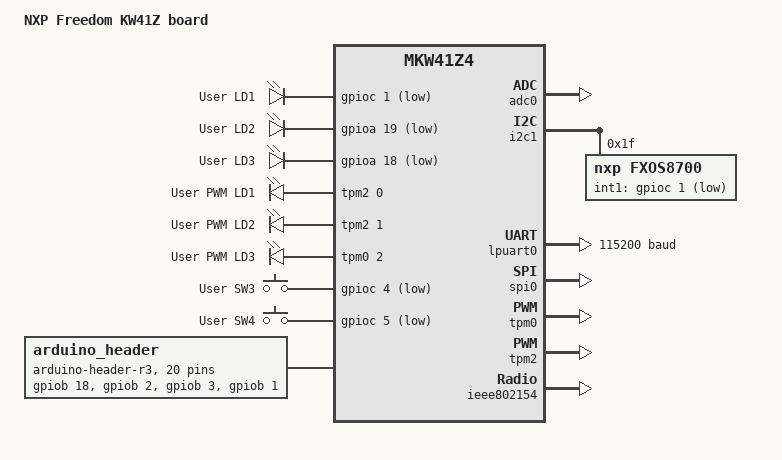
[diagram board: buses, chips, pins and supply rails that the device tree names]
/* SPDX-License-Identifier: Apache-2.0 */

/dts-v1/;

#include <nxp/nxp_kw41z.dtsi>
#include "frdm_kw41z-pinctrl.dtsi"
#include <zephyr/dt-bindings/gpio/arduino-header-r3.h>
#include <zephyr/dt-bindings/input/input-event-codes.h>

/ {
	model = "NXP Freedom KW41Z board";
	compatible = "nxp,kw41z", "nxp,mkw41z4";

	aliases {
		led0 = &green_led;
		led1 = &blue_led;
		led2 = &red_led;
		sw0 = &user_button_3;
		sw1 = &user_button_4;
		pwm-led0 = &blue_pwm_led;
		pwm-led1 = &green_pwm_led;
		pwm-led2 = &red_pwm_led;
		blue-pwm-led = &blue_pwm_led;
		green-pwm-led = &green_pwm_led;
		red-pwm-led = &red_pwm_led;
		magn0 = &fxos8700;
		accel0 = &fxos8700;
	};

	chosen {
		zephyr,sram = &sram0;
		zephyr,flash = &flash0;
		zephyr,console = &lpuart0;
		zephyr,shell-uart = &lpuart0;
		zephyr,ieee802154 = &ieee802154;
		zephyr,code-partition = &slot0_partition;
		zephyr,uart-mcumgr = &lpuart0;
	};

	leds {
		compatible = "gpio-leds";
		red_led: led_0 {
			gpios = <&gpioc 1 GPIO_ACTIVE_LOW>;
			label = "User LD1";
		};
		green_led: led_1 {
			gpios = <&gpioa 19 GPIO_ACTIVE_LOW>;
			label = "User LD2";
		};
		blue_led: led_2 {
			gpios = <&gpioa 18 GPIO_ACTIVE_LOW>;
			label = "User LD3";
		};
	};

	pwmleds {
		compatible = "pwm-leds";
		blue_pwm_led: pwm_led_0 {
			pwms = <&tpm2 0 PWM_MSEC(20) PWM_POLARITY_INVERTED>;
			label = "User PWM LD1";
		};
		green_pwm_led: pwm_led_1 {
			pwms = <&tpm2 1 PWM_MSEC(20) PWM_POLARITY_INVERTED>;
			label = "User PWM LD2";
		};
		red_pwm_led: pwm_led_2 {
			pwms = <&tpm0 2 PWM_MSEC(20) PWM_POLARITY_INVERTED>;
			label = "User PWM LD3";
		};
	};

	gpio_keys {
		compatible = "gpio-keys";
		user_button_3: button_0 {
			label = "User SW3";
			gpios = <&gpioc 4 GPIO_ACTIVE_LOW>;
			zephyr,code = <INPUT_KEY_0>;
		};
		user_button_4: button_1 {
			label = "User SW4";
			gpios = <&gpioc 5 GPIO_ACTIVE_LOW>;
			zephyr,code = <INPUT_KEY_1>;
		};
	};

	arduino_header: connector {
		compatible = "arduino-header-r3";
		#gpio-cells = <2>;
		gpio-map-mask = <0xffffffff 0xffffffc0>;
		gpio-map-pass-thru = <0 0x3f>;
		gpio-map = /* A0 cannot be muxed as gpio */
			   <ARDUINO_HEADER_R3_A1 0 &gpiob 18 0>,
			   <ARDUINO_HEADER_R3_A2 0 &gpiob 2 0>,
			   <ARDUINO_HEADER_R3_A3 0 &gpiob 3 0>,
			   <ARDUINO_HEADER_R3_A4 0 &gpiob 1 0>,
			   <ARDUINO_HEADER_R3_D0 0 &gpioc 6 0>,
			   <ARDUINO_HEADER_R3_D1 0 &gpioc 7 0>,
			   <ARDUINO_HEADER_R3_D2 0 &gpioc 19 0>,
			   <ARDUINO_HEADER_R3_D3 0 &gpioc 16 0>,
			   <ARDUINO_HEADER_R3_D4 0 &gpioc 4 0>,
			   <ARDUINO_HEADER_R3_D5 0 &gpioc 17 0>,
			   <ARDUINO_HEADER_R3_D6 0 &gpioc 18 0>,
			   <ARDUINO_HEADER_R3_D7 0 &gpioa 1 0>,
			   <ARDUINO_HEADER_R3_D8 0 &gpioa 0 0>,
			   <ARDUINO_HEADER_R3_D9 0 &gpioc 1 0>,
			   <ARDUINO_HEADER_R3_D10 0 &gpioa 19 0>,
			   <ARDUINO_HEADER_R3_D11 0 &gpioa 16 0>,
			   <ARDUINO_HEADER_R3_D12 0 &gpioa 17 0>,
			   <ARDUINO_HEADER_R3_D13 0 &gpioa 18 0>,
			   <ARDUINO_HEADER_R3_D14 0 &gpioc 3 0>,
			   <ARDUINO_HEADER_R3_D15 0 &gpioc 2 0>;
	};
};

&sim {
	pllfll-select = <KINETIS_SIM_PLLFLLSEL_MCGPLLCLK>;
	er32k-select = <KINETIS_SIM_ER32KSEL_OSC32KCLK>;
};

&adc0 {
	status = "okay";
	pinctrl-0 = <&adc0_default>;
	pinctrl-names = "default";
};

&i2c1 {
	status = "okay";
	pinctrl-0 = <&i2c1_default>;
	pinctrl-names = "default";

	fxos8700: fxos8700@1f {
		compatible = "nxp,fxos8700";
		reg = <0x1f>;
		int1-gpios = <&gpioc 1 GPIO_ACTIVE_LOW>;
	};
};

&lpuart0 {
	status = "okay";
	pinctrl-0 = <&lpuart0_default>;
	pinctrl-names = "default";
	current-speed = <115200>;
};

&gpioa {
	status = "okay";
};

&gpioc {
	status = "okay";
};

&spi0 {
	status = "okay";
	pinctrl-0 = <&spi0_default>;
	pinctrl-names = "default";
};

&tpm0 {
	status = "okay";
	pinctrl-0 = <&tpm0_default>;
	pinctrl-names = "default";
};

&tpm1 {
	status = "disabled";
};

&tpm2 {
	status = "okay";
	pinctrl-0 = <&tmp2_default>;
	pinctrl-names = "default";
};

&ieee802154 {
	status = "okay";
};

&flash0 {
	partitions {
		compatible = "fixed-partitions";
		#address-cells = <1>;
		#size-cells = <1>;
		slot0_partition: partition@0 {
			label = "image-0";
			reg = <0x00000000 0x00070000>;
		};
		storage_partition: partition@70000 {
			label = "storage";
			reg = <0x00070000 0x00010000>;
		};
	};
};
